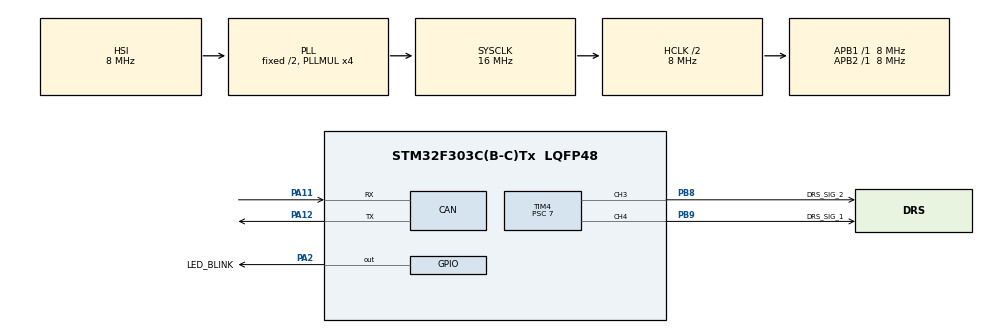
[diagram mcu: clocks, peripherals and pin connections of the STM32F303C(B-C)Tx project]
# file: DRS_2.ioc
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CAN.CalculateTimeQuantum=2000.0
Mcu.Family=STM32F3
Mcu.Name=STM32F303C(B-C)Tx
Mcu.Package=LQFP48
NVIC.PriorityGroup=NVIC_PRIORITYGROUP_4
PA11.Mode=Master
PA11.Signal=CAN_RX
PA12.Mode=Master
PA12.Signal=CAN_TX
PA2.GPIO_Label=LED_BLINK
PA2.Signal=GPIO_Output
PB8.GPIO_Label=DRS_SIG_2
PB8.Signal=S_TIM4_CH3
PB9.GPIO_Label=DRS_SIG_1
PB9.Signal=S_TIM4_CH4
PC14-OSC32_IN.Mode=LSE-External-Oscillator
PC14-OSC32_IN.Signal=RCC_OSC32_IN
PC15-OSC32_OUT.Mode=LSE-External-Oscillator
PC15-OSC32_OUT.Signal=RCC_OSC32_OUT
PF0-OSC_IN.Mode=HSE-External-Clock-Source
PF0-OSC_IN.Signal=RCC_OSC_IN
ProjectManager.HeapSize=0x200
ProjectManager.StackSize=0x400
ProjectManager.TargetToolchain=STM32CubeIDE
RCC.AHBCLKDivider=RCC_SYSCLK_DIV2
RCC.AHBFreq_Value=8000000
RCC.APB1Freq_Value=8000000
RCC.APB1TimFreq_Value=8000000
RCC.APB2Freq_Value=8000000
RCC.APB2TimFreq_Value=8000000
RCC.CortexFreq_Value=8000000
RCC.HCLKFreq_Value=8000000
RCC.HSE_VALUE=8000000
RCC.HSI_VALUE=8000000
RCC.PLLMUL=RCC_PLL_MUL4
RCC.SYSCLKFreq_VALUE=16000000
RCC.SYSCLKSourceVirtual=RCC_SYSCLKSOURCE_PLLCLK
RCC.USBFreq_Value=16000000
SH.S_TIM4_CH3.0=TIM4_CH3,PWM Generation3 CH3
SH.S_TIM4_CH4.0=TIM4_CH4,PWM Generation4 CH4
TIM4.Channel-PWM\ Generation3\ CH3=TIM_CHANNEL_3
TIM4.Channel-PWM\ Generation4\ CH4=TIM_CHANNEL_4
TIM4.Period=20000
TIM4.Prescaler=7
TIM4.Pulse-PWM\ Generation3\ CH3=10000
TIM4.Pulse-PWM\ Generation4\ CH4=10000
board=custom

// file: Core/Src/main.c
/* USER CODE BEGIN Header */
/**
  ******************************************************************************
  * @file           : main.c
  * @brief          : Main program body
  ******************************************************************************
  * @attention
  *
  * <h2><center>&copy; Copyright (c) 2020 STMicroelectronics.
  * All rights reserved.</center></h2>
  *
  * This software component is licensed by ST under BSD 3-Clause license,
  * the "License"; You may not use this file except in compliance with the
  * License. You may obtain a copy of the License at:
  *                        opensource.org/licenses/BSD-3-Clause
  *
  ******************************************************************************
  */
/* USER CODE END Header */

#include "main.h"
#include "can.h"
#include "tim.h"
#include "gpio.h"

/* USER CODE BEGIN Includes */
//#include "CanDrs.h"
#include "servo.h"
#include "CAN_LIB.h"
#include "can_config.h"
/* USER CODE END Includes */

void SystemClock_Config(void);

/* USER CODE BEGIN 0 */
static struct can_frame can_drs_frame;
static struct can_value can_drs_set;

void CanDrs_Init()
{
	CAN_Init();
	CAN_InitFrame(&can_drs_frame, DRS_ID, DRS_PERIOD, DRS_DLC);
	CAN_InitValue(&can_drs_frame, &can_drs_set, DRS_BIT_OFS, DRS_MUL, DRS_DIV, DRS_BIT_OFS, DRS_VALUE_TYPE);
};

/* USER CODE END 0 */

int main(void)
{
  /* USER CODE BEGIN 1 */
	uint16_t DrsFrame = 0;
  /* USER CODE END 1 */

  /* MCU Configuration--------------------------------------------------------*/

  /* Reset of all peripherals, Initializes the Flash interface and the Systick. */
  HAL_Init();

  /* Configure the system clock */
  SystemClock_Config();

  /* Initialize all configured peripherals */
  MX_GPIO_Init();
  MX_CAN_Init();
  MX_TIM4_Init();
  /* USER CODE BEGIN 2 */
  CanDrs_Init();

  servo_t servo1;
  servo_t servo2;

  Servo_Init(&servo1, &htim4, TIM_CHANNEL_3);
  Servo_Init(&servo2, &htim4, TIM_CHANNEL_4);
  /* USER CODE END 2 */

  /* Infinite loop */
  while (1)
  {

    /* USER CODE BEGIN 3 */
	  DrsFrame =  (uint16_t)CAN_ReadValueFloat(&can_drs_set);
	  ProceedServo(&servo1, &servo1, &DrsFrame);
   }
  /* USER CODE END 3 */
}

void SystemClock_Config(void)
{
  RCC_OscInitTypeDef RCC_OscInitStruct = {0};
  RCC_ClkInitTypeDef RCC_ClkInitStruct = {0};

  /** Initializes the CPU, AHB and APB busses clocks
  */
  RCC_OscInitStruct.OscillatorType = RCC_OSCILLATORTYPE_HSI;
  RCC_OscInitStruct.HSIState = RCC_HSI_ON;
  RCC_OscInitStruct.HSICalibrationValue = RCC_HSICALIBRATION_DEFAULT;
  RCC_OscInitStruct.PLL.PLLState = RCC_PLL_ON;
  RCC_OscInitStruct.PLL.PLLSource = RCC_PLLSOURCE_HSI;
  RCC_OscInitStruct.PLL.PLLMUL = RCC_PLL_MUL4;
  if (HAL_RCC_OscConfig(&RCC_OscInitStruct) != HAL_OK)
  {
    Error_Handler();
  }
  /** Initializes the CPU, AHB and APB busses clocks
  */
  RCC_ClkInitStruct.ClockType = RCC_CLOCKTYPE_HCLK|RCC_CLOCKTYPE_SYSCLK
                              |RCC_CLOCKTYPE_PCLK1|RCC_CLOCKTYPE_PCLK2;
  RCC_ClkInitStruct.SYSCLKSource = RCC_SYSCLKSOURCE_PLLCLK;
  RCC_ClkInitStruct.AHBCLKDivider = RCC_SYSCLK_DIV2;
  RCC_ClkInitStruct.APB1CLKDivider = RCC_HCLK_DIV1;
  RCC_ClkInitStruct.APB2CLKDivider = RCC_HCLK_DIV1;

  if (HAL_RCC_ClockConfig(&RCC_ClkInitStruct, FLASH_LATENCY_0) != HAL_OK)
  {
    Error_Handler();
  }
}

void Error_Handler(void)
{
}

/************************ (C) COPYRIGHT STMicroelectronics *****END OF FILE****/
